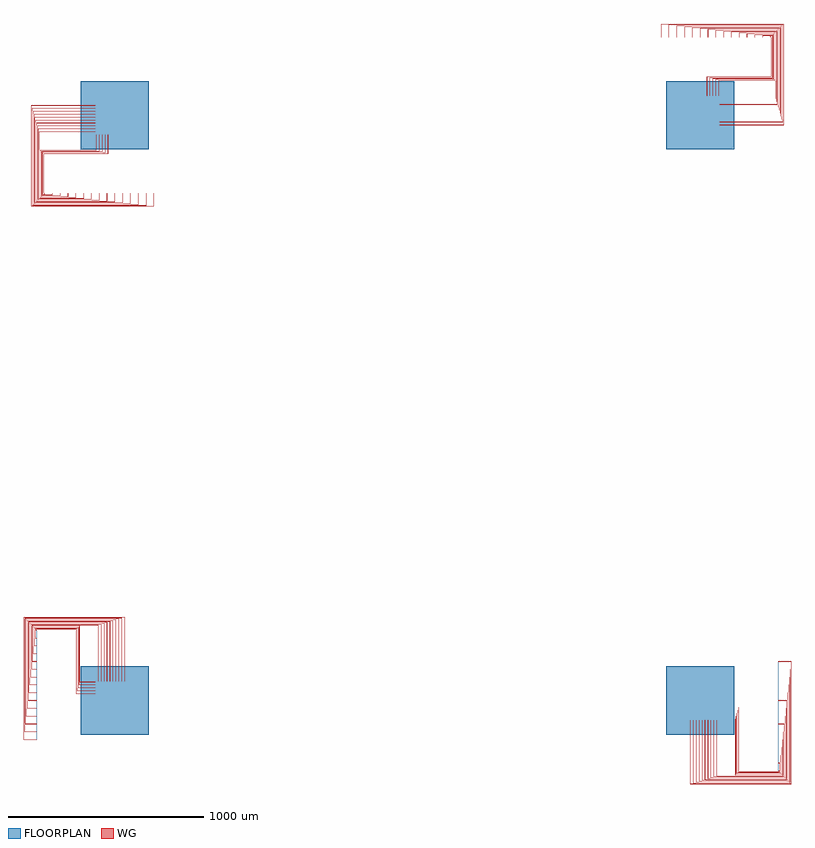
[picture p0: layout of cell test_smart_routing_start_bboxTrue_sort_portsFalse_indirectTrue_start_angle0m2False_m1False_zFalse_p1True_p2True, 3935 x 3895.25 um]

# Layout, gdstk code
import gdstk
lib = gdstk.Library(unit=1e-6, precision=1e-09)
def R(c, l, rs):  # rectangles x0, y0, x1, y1
    for r in rs: c.add(gdstk.rectangle(r[:2], r[2:], *l))
def P(c, l, *ps):  # polygons
    for p in ps: c.add(gdstk.Polygon(p, *l))
WG = (1, 0)
FLOORPLAN = (10, 0)

test_smart_routing_start = lib.new_cell('test_smart_routing_start_bboxTrue_sort_portsFalse_indirectTrue_start_angle0m2False_m1False_zFalse_p1True_p2True')
P(test_smart_routing_start, WG, [(3100,2950.05),(3100,2950.25),(3427.25,2950.25),(3427.25,3467),(2800.25,3467),(2800.25,3400),(2800.05,3400),(2800.05,3467.2),(3427.45,3467.2),(3427.45,2950.05)],
  [(3100,2949.75),(3100,2949.95),(3427.55,2949.95),(3427.55,3467.3),(2799.95,3467.3),(2799.95,3400),(2799.75,3400),(2799.75,3467.5),(3427.75,3467.5),(3427.75,2949.75)],
  [(3100,2965.05),(3100,2965.25),(3422.75,2965.25),(3422.75,3462.5),(2840.25,3462.5),(2840.25,3400),(2840.05,3400),(2840.05,3462.7),(3422.95,3462.7),(3422.95,2965.05)],
  [(3100,2964.75),(3100,2964.95),(3423.05,2964.95),(3423.05,3462.8),(2839.95,3462.8),(2839.95,3400),(2839.75,3400),(2839.75,3463),(3423.25,3463),(3423.25,2964.75)],
  [(3100,2980.05),(3100,2980.25),(3418.25,2980.25),(3418.25,3458),(2880.25,3458),(2880.25,3400),(2880.05,3400),(2880.05,3458.2),(3418.45,3458.2),(3418.45,2980.05)],
  [(3100,2979.75),(3100,2979.95),(3418.55,2979.95),(3418.55,3458.3),(2879.95,3458.3),(2879.95,3400),(2879.75,3400),(2879.75,3458.5),(3418.75,3458.5),(3418.75,2979.75)],
  [(3100,2995.05),(3100,2995.25),(3413.75,2995.25),(3413.75,3453.5),(2920.25,3453.5),(2920.25,3400),(2920.05,3400),(2920.05,3453.7),(3413.95,3453.7),(3413.95,2995.05)],
  [(3100,2994.75),(3100,2994.95),(3414.05,2994.95),(3414.05,3453.8),(2919.95,3453.8),(2919.95,3400),(2919.75,3400),(2919.75,3454),(3414.25,3454),(3414.25,2994.75)],
  [(3100,3010.05),(3100,3010.25),(3409.25,3010.25),(3409.25,3449),(2960.25,3449),(2960.25,3400),(2960.05,3400),(2960.05,3449.2),(3409.45,3449.2),(3409.45,3010.05)],
  [(3100,3009.75),(3100,3009.95),(3409.55,3009.95),(3409.55,3449.3),(2959.95,3449.3),(2959.95,3400),(2959.75,3400),(2959.75,3449.5),(3409.75,3449.5),(3409.75,3009.75)],
  [(3100,3025.05),(3100,3025.25),(3404.75,3025.25),(3404.75,3444.5),(3000.25,3444.5),(3000.25,3400),(3000.05,3400),(3000.05,3444.7),(3404.95,3444.7),(3404.95,3025.05)],
  [(3100,3024.75),(3100,3024.95),(3405.05,3024.95),(3405.05,3444.8),(2999.95,3444.8),(2999.95,3400),(2999.75,3400),(2999.75,3445),(3405.25,3445),(3405.25,3024.75)],
  [(3100,3040.05),(3100,3040.25),(3400.25,3040.25),(3400.25,3440),(3040.25,3440),(3040.25,3400),(3040.05,3400),(3040.05,3440.2),(3400.45,3440.2),(3400.45,3040.05)],
  [(3100,3039.75),(3100,3039.95),(3400.55,3039.95),(3400.55,3440.3),(3039.95,3440.3),(3039.95,3400),(3039.75,3400),(3039.75,3440.5),(3400.75,3440.5),(3400.75,3039.75)],
  [(3100,3055.05),(3100,3055.25),(3395.75,3055.25),(3395.75,3435.5),(3080.25,3435.5),(3080.25,3400),(3080.05,3400),(3080.05,3435.7),(3395.95,3435.7),(3395.95,3055.05)],
  [(3100,3054.75),(3100,3054.95),(3396.05,3054.95),(3396.05,3435.8),(3079.95,3435.8),(3079.95,3400),(3079.75,3400),(3079.75,3436),(3396.25,3436),(3396.25,3054.75)],
  [(3100,3070.05),(3100,3070.25),(3391.25,3070.25),(3391.25,3431),(3120.25,3431),(3120.25,3400),(3120.05,3400),(3120.05,3431.2),(3391.45,3431.2),(3391.45,3070.05)],
  [(3100,3069.75),(3100,3069.95),(3391.55,3069.95),(3391.55,3431.3),(3119.95,3431.3),(3119.95,3400),(3119.75,3400),(3119.75,3431.5),(3391.75,3431.5),(3391.75,3069.75)],
  [(3100,3085.05),(3100,3085.25),(3386.75,3085.25),(3386.75,3426.5),(3160.25,3426.5),(3160.25,3400),(3160.05,3400),(3160.05,3426.7),(3386.95,3426.7),(3386.95,3085.05)],
  [(3100,3084.75),(3100,3084.95),(3387.05,3084.95),(3387.05,3426.8),(3159.95,3426.8),(3159.95,3400),(3159.75,3400),(3159.75,3427),(3387.25,3427),(3387.25,3084.75)],
  [(3034.75,3100),(3034.75,3197.5),(3364.25,3197.5),(3364.25,3404),(3360.25,3404),(3360.25,3400),(3360.05,3400),(3360.05,3404.2),(3364.45,3404.2),(3364.45,3197.3),(3034.95,3197.3),(3034.95,3100)],
  [(3035.05,3100),(3035.05,3197.2),(3364.55,3197.2),(3364.55,3404.3),(3359.95,3404.3),(3359.95,3400),(3359.75,3400),(3359.75,3404.5),(3364.75,3404.5),(3364.75,3197),(3035.25,3197),(3035.25,3100)],
  [(3049.75,3100),(3049.75,3193),(3368.75,3193),(3368.75,3408.5),(3320.25,3408.5),(3320.25,3400),(3320.05,3400),(3320.05,3408.7),(3368.95,3408.7),(3368.95,3192.8),(3049.95,3192.8),(3049.95,3100)],
  [(3050.05,3100),(3050.05,3192.7),(3369.05,3192.7),(3369.05,3408.8),(3319.95,3408.8),(3319.95,3400),(3319.75,3400),(3319.75,3409),(3369.25,3409),(3369.25,3192.5),(3050.25,3192.5),(3050.25,3100)],
  [(3064.75,3100),(3064.75,3188.5),(3373.25,3188.5),(3373.25,3413),(3280.25,3413),(3280.25,3400),(3280.05,3400),(3280.05,3413.2),(3373.45,3413.2),(3373.45,3188.3),(3064.95,3188.3),(3064.95,3100)],
  [(3065.05,3100),(3065.05,3188.2),(3373.55,3188.2),(3373.55,3413.3),(3279.95,3413.3),(3279.95,3400),(3279.75,3400),(3279.75,3413.5),(3373.75,3413.5),(3373.75,3188),(3065.25,3188),(3065.25,3100)],
  [(3079.75,3100),(3079.75,3184),(3377.75,3184),(3377.75,3417.5),(3240.25,3417.5),(3240.25,3400),(3240.05,3400),(3240.05,3417.7),(3377.95,3417.7),(3377.95,3183.8),(3079.95,3183.8),(3079.95,3100)],
  [(3080.05,3100),(3080.05,3183.7),(3378.05,3183.7),(3378.05,3417.8),(3239.95,3417.8),(3239.95,3400),(3239.75,3400),(3239.75,3418),(3378.25,3418),(3378.25,3183.5),(3080.25,3183.5),(3080.25,3100)],
  [(3094.75,3100),(3094.75,3179.5),(3382.25,3179.5),(3382.25,3422),(3200.25,3422),(3200.25,3400),(3200.05,3400),(3200.05,3422.2),(3382.45,3422.2),(3382.45,3179.3),(3094.95,3179.3),(3094.95,3100)],
  [(3095.05,3100),(3095.05,3179.2),(3382.55,3179.2),(3382.55,3422.3),(3199.95,3422.3),(3199.95,3400),(3199.75,3400),(3199.75,3422.5),(3382.75,3422.5),(3382.75,3179),(3095.25,3179),(3095.25,3100)],
  [(-427.45,2532.8),(-427.45,3049.95),(-100,3049.95),(-100,3049.75),(-427.25,3049.75),(-427.25,2533),(199.75,2533),(199.75,2600),(199.95,2600),(199.95,2532.8)],
  [(-427.75,2532.5),(-427.75,3050.25),(-100,3050.25),(-100,3050.05),(-427.55,3050.05),(-427.55,2532.7),(200.05,2532.7),(200.05,2600),(200.25,2600),(200.25,2532.5)],
  [(-422.95,2537.3),(-422.95,3034.95),(-100,3034.95),(-100,3034.75),(-422.75,3034.75),(-422.75,2537.5),(159.75,2537.5),(159.75,2600),(159.95,2600),(159.95,2537.3)],
  [(-423.25,2537),(-423.25,3035.25),(-100,3035.25),(-100,3035.05),(-423.05,3035.05),(-423.05,2537.2),(160.05,2537.2),(160.05,2600),(160.25,2600),(160.25,2537)],
  [(-418.45,2541.8),(-418.45,3019.95),(-100,3019.95),(-100,3019.75),(-418.25,3019.75),(-418.25,2542),(119.75,2542),(119.75,2600),(119.95,2600),(119.95,2541.8)],
  [(-418.75,2541.5),(-418.75,3020.25),(-100,3020.25),(-100,3020.05),(-418.55,3020.05),(-418.55,2541.7),(120.05,2541.7),(120.05,2600),(120.25,2600),(120.25,2541.5)],
  [(-413.95,2546.3),(-413.95,3004.95),(-100,3004.95),(-100,3004.75),(-413.75,3004.75),(-413.75,2546.5),(79.75,2546.5),(79.75,2600),(79.95,2600),(79.95,2546.3)],
  [(-414.25,2546),(-414.25,3005.25),(-100,3005.25),(-100,3005.05),(-414.05,3005.05),(-414.05,2546.2),(80.05,2546.2),(80.05,2600),(80.25,2600),(80.25,2546)],
  [(-409.45,2550.8),(-409.45,2989.95),(-100,2989.95),(-100,2989.75),(-409.25,2989.75),(-409.25,2551),(39.75,2551),(39.75,2600),(39.95,2600),(39.95,2550.8)],
  [(-409.75,2550.5),(-409.75,2990.25),(-100,2990.25),(-100,2990.05),(-409.55,2990.05),(-409.55,2550.7),(40.05,2550.7),(40.05,2600),(40.25,2600),(40.25,2550.5)],
  [(-404.95,2555.3),(-404.95,2974.95),(-100,2974.95),(-100,2974.75),(-404.75,2974.75),(-404.75,2555.5),(-0.25,2555.5),(-0.25,2600),(-0.05,2600),(-0.05,2555.3)],
  [(-405.25,2555),(-405.25,2975.25),(-100,2975.25),(-100,2975.05),(-405.05,2975.05),(-405.05,2555.2),(0.05,2555.2),(0.05,2600),(0.25,2600),(0.25,2555)],
  [(-400.45,2559.8),(-400.45,2959.95),(-100,2959.95),(-100,2959.75),(-400.25,2959.75),(-400.25,2560),(-40.25,2560),(-40.25,2600),(-40.05,2600),(-40.05,2559.8)],
  [(-400.75,2559.5),(-400.75,2960.25),(-100,2960.25),(-100,2960.05),(-400.55,2960.05),(-400.55,2559.7),(-39.95,2559.7),(-39.95,2600),(-39.75,2600),(-39.75,2559.5)],
  [(-395.95,2564.3),(-395.95,2944.95),(-100,2944.95),(-100,2944.75),(-395.75,2944.75),(-395.75,2564.5),(-80.25,2564.5),(-80.25,2600),(-80.05,2600),(-80.05,2564.3)],
  [(-396.25,2564),(-396.25,2945.25),(-100,2945.25),(-100,2945.05),(-396.05,2945.05),(-396.05,2564.2),(-79.95,2564.2),(-79.95,2600),(-79.75,2600),(-79.75,2564)],
  [(-391.45,2568.8),(-391.45,2929.95),(-100,2929.95),(-100,2929.75),(-391.25,2929.75),(-391.25,2569),(-120.25,2569),(-120.25,2600),(-120.05,2600),(-120.05,2568.8)],
  [(-391.75,2568.5),(-391.75,2930.25),(-100,2930.25),(-100,2930.05),(-391.55,2930.05),(-391.55,2568.7),(-119.95,2568.7),(-119.95,2600),(-119.75,2600),(-119.75,2568.5)],
  [(-386.95,2573.3),(-386.95,2914.95),(-100,2914.95),(-100,2914.75),(-386.75,2914.75),(-386.75,2573.5),(-160.25,2573.5),(-160.25,2600),(-160.05,2600),(-160.05,2573.3)],
  [(-387.25,2573),(-387.25,2915.25),(-100,2915.25),(-100,2915.05),(-387.05,2915.05),(-387.05,2573.2),(-159.95,2573.2),(-159.95,2600),(-159.75,2600),(-159.75,2573)],
  [(-364.75,2595.5),(-364.75,2803),(-35.25,2803),(-35.25,2900),(-35.05,2900),(-35.05,2802.8),(-364.55,2802.8),(-364.55,2595.7),(-359.95,2595.7),(-359.95,2600),(-359.75,2600),(-359.75,2595.5)],
  [(-364.45,2595.8),(-364.45,2802.7),(-34.95,2802.7),(-34.95,2900),(-34.75,2900),(-34.75,2802.5),(-364.25,2802.5),(-364.25,2596),(-360.25,2596),(-360.25,2600),(-360.05,2600),(-360.05,2595.8)],
  [(-369.25,2591),(-369.25,2807.5),(-50.25,2807.5),(-50.25,2900),(-50.05,2900),(-50.05,2807.3),(-369.05,2807.3),(-369.05,2591.2),(-319.95,2591.2),(-319.95,2600),(-319.75,2600),(-319.75,2591)],
  [(-368.95,2591.3),(-368.95,2807.2),(-49.95,2807.2),(-49.95,2900),(-49.75,2900),(-49.75,2807),(-368.75,2807),(-368.75,2591.5),(-320.25,2591.5),(-320.25,2600),(-320.05,2600),(-320.05,2591.3)],
  [(-373.75,2586.5),(-373.75,2812),(-65.25,2812),(-65.25,2900),(-65.05,2900),(-65.05,2811.8),(-373.55,2811.8),(-373.55,2586.7),(-279.95,2586.7),(-279.95,2600),(-279.75,2600),(-279.75,2586.5)],
  [(-373.45,2586.8),(-373.45,2811.7),(-64.95,2811.7),(-64.95,2900),(-64.75,2900),(-64.75,2811.5),(-373.25,2811.5),(-373.25,2587),(-280.25,2587),(-280.25,2600),(-280.05,2600),(-280.05,2586.8)],
  [(-378.25,2582),(-378.25,2816.5),(-80.25,2816.5),(-80.25,2900),(-80.05,2900),(-80.05,2816.3),(-378.05,2816.3),(-378.05,2582.2),(-239.95,2582.2),(-239.95,2600),(-239.75,2600),(-239.75,2582)],
  [(-377.95,2582.3),(-377.95,2816.2),(-79.95,2816.2),(-79.95,2900),(-79.75,2900),(-79.75,2816),(-377.75,2816),(-377.75,2582.5),(-240.25,2582.5),(-240.25,2600),(-240.05,2600),(-240.05,2582.3)],
  [(-382.75,2577.5),(-382.75,2821),(-95.25,2821),(-95.25,2900),(-95.05,2900),(-95.05,2820.8),(-382.55,2820.8),(-382.55,2577.7),(-199.95,2577.7),(-199.95,2600),(-199.75,2600),(-199.75,2577.5)],
  [(-382.45,2577.8),(-382.45,2820.7),(-94.95,2820.7),(-94.95,2900),(-94.75,2900),(-94.75,2820.5),(-382.25,2820.5),(-382.25,2578),(-200.25,2578),(-200.25,2600),(-200.05,2600),(-200.05,2577.8)],
  [(-467.2,-199.95),(-467.2,427.45),(49.95,427.45),(49.95,100),(49.75,100),(49.75,427.25),(-467,427.25),(-467,-199.75),(-400,-199.75),(-400,-199.95)],
  [(-467.5,-200.25),(-467.5,427.75),(50.25,427.75),(50.25,100),(50.05,100),(50.05,427.55),(-467.3,427.55),(-467.3,-200.05),(-400,-200.05),(-400,-200.25)],
  [(-462.7,-159.95),(-462.7,422.95),(34.95,422.95),(34.95,100),(34.75,100),(34.75,422.75),(-462.5,422.75),(-462.5,-159.75),(-400,-159.75),(-400,-159.95)],
  [(-463,-160.25),(-463,423.25),(35.25,423.25),(35.25,100),(35.05,100),(35.05,423.05),(-462.8,423.05),(-462.8,-160.05),(-400,-160.05),(-400,-160.25)],
  [(-458.2,-119.95),(-458.2,418.45),(19.95,418.45),(19.95,100),(19.75,100),(19.75,418.25),(-458,418.25),(-458,-119.75),(-400,-119.75),(-400,-119.95)],
  [(-458.5,-120.25),(-458.5,418.75),(20.25,418.75),(20.25,100),(20.05,100),(20.05,418.55),(-458.3,418.55),(-458.3,-120.05),(-400,-120.05),(-400,-120.25)],
  [(-453.7,-79.95),(-453.7,413.95),(4.95,413.95),(4.95,100),(4.75,100),(4.75,413.75),(-453.5,413.75),(-453.5,-79.75),(-400,-79.75),(-400,-79.95)],
  [(-454,-80.25),(-454,414.25),(5.25,414.25),(5.25,100),(5.05,100),(5.05,414.05),(-453.8,414.05),(-453.8,-80.05),(-400,-80.05),(-400,-80.25)],
  [(-449.2,-39.95),(-449.2,409.45),(-10.05,409.45),(-10.05,100),(-10.25,100),(-10.25,409.25),(-449,409.25),(-449,-39.75),(-400,-39.75),(-400,-39.95)],
  [(-449.5,-40.25),(-449.5,409.75),(-9.75,409.75),(-9.75,100),(-9.95,100),(-9.95,409.55),(-449.3,409.55),(-449.3,-40.05),(-400,-40.05),(-400,-40.25)],
  [(-444.7,0.05),(-444.7,404.95),(-25.05,404.95),(-25.05,100),(-25.25,100),(-25.25,404.75),(-444.5,404.75),(-444.5,0.25),(-400,0.25),(-400,0.05)],
  [(-445,-0.25),(-445,405.25),(-24.75,405.25),(-24.75,100),(-24.95,100),(-24.95,405.05),(-444.8,405.05),(-444.8,-0.05),(-400,-0.05),(-400,-0.25)],
  [(-440.2,40.05),(-440.2,400.45),(-40.05,400.45),(-40.05,100),(-40.25,100),(-40.25,400.25),(-440,400.25),(-440,40.25),(-400,40.25),(-400,40.05)],
  [(-440.5,39.75),(-440.5,400.75),(-39.75,400.75),(-39.75,100),(-39.95,100),(-39.95,400.55),(-440.3,400.55),(-440.3,39.95),(-400,39.95),(-400,39.75)],
  [(-435.7,80.05),(-435.7,395.95),(-55.05,395.95),(-55.05,100),(-55.25,100),(-55.25,395.75),(-435.5,395.75),(-435.5,80.25),(-400,80.25),(-400,80.05)],
  [(-436,79.75),(-436,396.25),(-54.75,396.25),(-54.75,100),(-54.95,100),(-54.95,396.05),(-435.8,396.05),(-435.8,79.95),(-400,79.95),(-400,79.75)],
  [(-70.25,100),(-70.25,391.25),(-431,391.25),(-431,120.25),(-400,120.25),(-400,120.05),(-431.2,120.05),(-431.2,391.45),(-70.05,391.45),(-70.05,100)],
  [(-69.95,100),(-69.95,391.55),(-431.3,391.55),(-431.3,119.95),(-400,119.95),(-400,119.75),(-431.5,119.75),(-431.5,391.75),(-69.75,391.75),(-69.75,100)],
  [(-85.25,100),(-85.25,386.75),(-426.5,386.75),(-426.5,160.25),(-400,160.25),(-400,160.05),(-426.7,160.05),(-426.7,386.95),(-85.05,386.95),(-85.05,100)],
  [(-84.95,100),(-84.95,387.05),(-426.8,387.05),(-426.8,159.95),(-400,159.95),(-400,159.75),(-427,159.75),(-427,387.25),(-84.75,387.25),(-84.75,100)],
  [(-197.5,34.75),(-197.5,364.25),(-404,364.25),(-404,360.25),(-400,360.25),(-400,360.05),(-404.2,360.05),(-404.2,364.45),(-197.3,364.45),(-197.3,34.95),(-100,34.95),(-100,34.75)],
  [(-197.2,35.05),(-197.2,364.55),(-404.3,364.55),(-404.3,359.95),(-400,359.95),(-400,359.75),(-404.5,359.75),(-404.5,364.75),(-197,364.75),(-197,35.25),(-100,35.25),(-100,35.05)],
  [(-193,49.75),(-193,368.75),(-408.5,368.75),(-408.5,320.25),(-400,320.25),(-400,320.05),(-408.7,320.05),(-408.7,368.95),(-192.8,368.95),(-192.8,49.95),(-100,49.95),(-100,49.75)],
  [(-192.7,50.05),(-192.7,369.05),(-408.8,369.05),(-408.8,319.95),(-400,319.95),(-400,319.75),(-409,319.75),(-409,369.25),(-192.5,369.25),(-192.5,50.25),(-100,50.25),(-100,50.05)],
  [(-188.5,64.75),(-188.5,373.25),(-413,373.25),(-413,280.25),(-400,280.25),(-400,280.05),(-413.2,280.05),(-413.2,373.45),(-188.3,373.45),(-188.3,64.95),(-100,64.95),(-100,64.75)],
  [(-188.2,65.05),(-188.2,373.55),(-413.3,373.55),(-413.3,279.95),(-400,279.95),(-400,279.75),(-413.5,279.75),(-413.5,373.75),(-188,373.75),(-188,65.25),(-100,65.25),(-100,65.05)],
  [(-184,79.75),(-184,377.75),(-417.5,377.75),(-417.5,240.25),(-400,240.25),(-400,240.05),(-417.7,240.05),(-417.7,377.95),(-183.8,377.95),(-183.8,79.95),(-100,79.95),(-100,79.75)],
  [(-183.7,80.05),(-183.7,378.05),(-417.8,378.05),(-417.8,239.95),(-400,239.95),(-400,239.75),(-418,239.75),(-418,378.25),(-183.5,378.25),(-183.5,80.25),(-100,80.25),(-100,80.05)],
  [(-179.5,94.75),(-179.5,382.25),(-422,382.25),(-422,200.25),(-400,200.25),(-400,200.05),(-422.2,200.05),(-422.2,382.45),(-179.3,382.45),(-179.3,94.95),(-100,94.95),(-100,94.75)],
  [(-179.2,95.05),(-179.2,382.55),(-422.3,382.55),(-422.3,199.95),(-400,199.95),(-400,199.75),(-422.5,199.75),(-422.5,382.75),(-179,382.75),(-179,95.25),(-100,95.25),(-100,95.05)],
  [(2950.05,-427.45),(2950.05,-100),(2950.25,-100),(2950.25,-427.25),(3467,-427.25),(3467,199.75),(3400,199.75),(3400,199.95),(3467.2,199.95),(3467.2,-427.45)],
  [(2949.75,-427.75),(2949.75,-100),(2949.95,-100),(2949.95,-427.55),(3467.3,-427.55),(3467.3,200.05),(3400,200.05),(3400,200.25),(3467.5,200.25),(3467.5,-427.75)],
  [(2965.05,-422.95),(2965.05,-100),(2965.25,-100),(2965.25,-422.75),(3462.5,-422.75),(3462.5,159.75),(3400,159.75),(3400,159.95),(3462.7,159.95),(3462.7,-422.95)],
  [(2964.75,-423.25),(2964.75,-100),(2964.95,-100),(2964.95,-423.05),(3462.8,-423.05),(3462.8,160.05),(3400,160.05),(3400,160.25),(3463,160.25),(3463,-423.25)],
  [(2980.05,-418.45),(2980.05,-100),(2980.25,-100),(2980.25,-418.25),(3458,-418.25),(3458,119.75),(3400,119.75),(3400,119.95),(3458.2,119.95),(3458.2,-418.45)],
  [(2979.75,-418.75),(2979.75,-100),(2979.95,-100),(2979.95,-418.55),(3458.3,-418.55),(3458.3,120.05),(3400,120.05),(3400,120.25),(3458.5,120.25),(3458.5,-418.75)],
  [(2995.05,-413.95),(2995.05,-100),(2995.25,-100),(2995.25,-413.75),(3453.5,-413.75),(3453.5,79.75),(3400,79.75),(3400,79.95),(3453.7,79.95),(3453.7,-413.95)],
  [(2994.75,-414.25),(2994.75,-100),(2994.95,-100),(2994.95,-414.05),(3453.8,-414.05),(3453.8,80.05),(3400,80.05),(3400,80.25),(3454,80.25),(3454,-414.25)],
  [(3010.05,-409.45),(3010.05,-100),(3010.25,-100),(3010.25,-409.25),(3449,-409.25),(3449,39.75),(3400,39.75),(3400,39.95),(3449.2,39.95),(3449.2,-409.45)],
  [(3009.75,-409.75),(3009.75,-100),(3009.95,-100),(3009.95,-409.55),(3449.3,-409.55),(3449.3,40.05),(3400,40.05),(3400,40.25),(3449.5,40.25),(3449.5,-409.75)],
  [(3025.05,-404.95),(3025.05,-100),(3025.25,-100),(3025.25,-404.75),(3444.5,-404.75),(3444.5,-0.25),(3400,-0.25),(3400,-0.05),(3444.7,-0.05),(3444.7,-404.95)],
  [(3024.75,-405.25),(3024.75,-100),(3024.95,-100),(3024.95,-405.05),(3444.8,-405.05),(3444.8,0.05),(3400,0.05),(3400,0.25),(3445,0.25),(3445,-405.25)],
  [(3040.05,-400.45),(3040.05,-100),(3040.25,-100),(3040.25,-400.25),(3440,-400.25),(3440,-40.25),(3400,-40.25),(3400,-40.05),(3440.2,-40.05),(3440.2,-400.45)],
  [(3039.75,-400.75),(3039.75,-100),(3039.95,-100),(3039.95,-400.55),(3440.3,-400.55),(3440.3,-39.95),(3400,-39.95),(3400,-39.75),(3440.5,-39.75),(3440.5,-400.75)],
  [(3055.05,-395.95),(3055.05,-100),(3055.25,-100),(3055.25,-395.75),(3435.5,-395.75),(3435.5,-80.25),(3400,-80.25),(3400,-80.05),(3435.7,-80.05),(3435.7,-395.95)],
  [(3054.75,-396.25),(3054.75,-100),(3054.95,-100),(3054.95,-396.05),(3435.8,-396.05),(3435.8,-79.95),(3400,-79.95),(3400,-79.75),(3436,-79.75),(3436,-396.25)],
  [(3069.75,-391.75),(3069.75,-100),(3069.95,-100),(3069.95,-391.55),(3431.3,-391.55),(3431.3,-119.95),(3400,-119.95),(3400,-119.75),(3431.5,-119.75),(3431.5,-391.75)],
  [(3070.05,-391.45),(3070.05,-100),(3070.25,-100),(3070.25,-391.25),(3431,-391.25),(3431,-120.25),(3400,-120.25),(3400,-120.05),(3431.2,-120.05),(3431.2,-391.45)],
  [(3084.75,-387.25),(3084.75,-100),(3084.95,-100),(3084.95,-387.05),(3426.8,-387.05),(3426.8,-159.95),(3400,-159.95),(3400,-159.75),(3427,-159.75),(3427,-387.25)],
  [(3085.05,-386.95),(3085.05,-100),(3085.25,-100),(3085.25,-386.75),(3426.5,-386.75),(3426.5,-160.25),(3400,-160.25),(3400,-160.05),(3426.7,-160.05),(3426.7,-386.95)],
  [(3197,-364.75),(3197,-35.25),(3100,-35.25),(3100,-35.05),(3197.2,-35.05),(3197.2,-364.55),(3404.3,-364.55),(3404.3,-359.95),(3400,-359.95),(3400,-359.75),(3404.5,-359.75),(3404.5,-364.75)],
  [(3197.3,-364.45),(3197.3,-34.95),(3100,-34.95),(3100,-34.75),(3197.5,-34.75),(3197.5,-364.25),(3404,-364.25),(3404,-360.25),(3400,-360.25),(3400,-360.05),(3404.2,-360.05),(3404.2,-364.45)],
  [(3192.5,-369.25),(3192.5,-50.25),(3100,-50.25),(3100,-50.05),(3192.7,-50.05),(3192.7,-369.05),(3408.8,-369.05),(3408.8,-319.95),(3400,-319.95),(3400,-319.75),(3409,-319.75),(3409,-369.25)],
  [(3192.8,-368.95),(3192.8,-49.95),(3100,-49.95),(3100,-49.75),(3193,-49.75),(3193,-368.75),(3408.5,-368.75),(3408.5,-320.25),(3400,-320.25),(3400,-320.05),(3408.7,-320.05),(3408.7,-368.95)],
  [(3188,-373.75),(3188,-65.25),(3100,-65.25),(3100,-65.05),(3188.2,-65.05),(3188.2,-373.55),(3413.3,-373.55),(3413.3,-279.95),(3400,-279.95),(3400,-279.75),(3413.5,-279.75),(3413.5,-373.75)],
  [(3188.3,-373.45),(3188.3,-64.95),(3100,-64.95),(3100,-64.75),(3188.5,-64.75),(3188.5,-373.25),(3413,-373.25),(3413,-280.25),(3400,-280.25),(3400,-280.05),(3413.2,-280.05),(3413.2,-373.45)],
  [(3183.5,-378.25),(3183.5,-80.25),(3100,-80.25),(3100,-80.05),(3183.7,-80.05),(3183.7,-378.05),(3417.8,-378.05),(3417.8,-239.95),(3400,-239.95),(3400,-239.75),(3418,-239.75),(3418,-378.25)],
  [(3183.8,-377.95),(3183.8,-79.95),(3100,-79.95),(3100,-79.75),(3184,-79.75),(3184,-377.75),(3417.5,-377.75),(3417.5,-240.25),(3400,-240.25),(3400,-240.05),(3417.7,-240.05),(3417.7,-377.95)],
  [(3179,-382.75),(3179,-95.25),(3100,-95.25),(3100,-95.05),(3179.2,-95.05),(3179.2,-382.55),(3422.3,-382.55),(3422.3,-199.95),(3400,-199.95),(3400,-199.75),(3422.5,-199.75),(3422.5,-382.75)],
  [(3179.3,-382.45),(3179.3,-94.95),(3100,-94.95),(3100,-94.75),(3179.5,-94.75),(3179.5,-382.25),(3422,-382.25),(3422,-200.25),(3400,-200.25),(3400,-200.05),(3422.2,-200.05),(3422.2,-382.45)])
R(test_smart_routing_start, FLOORPLAN, [(-175,-175,175,175), (2825,-175,3175,175), (-175,2825,175,3175), (2825,2825,3175,3175)])
P(test_smart_routing_start, FLOORPLAN, [(-400,-200),(-400,360),(-400,360),(-400,-200)],
  [(-360,2600),(-360,2600),(200,2600),(200,2600)],
  [(3400,-360),(3400,200),(3400,200),(3400,-360)],
  [(2800,3400),(2800,3400),(3360,3400),(3360,3400)])

lib.write_gds('test_smart_routing_start_bboxTrue_sort_portsFalse_indirectTrue_start_angle0m2False_m1False_zFalse_p1True_p2True.gds')
